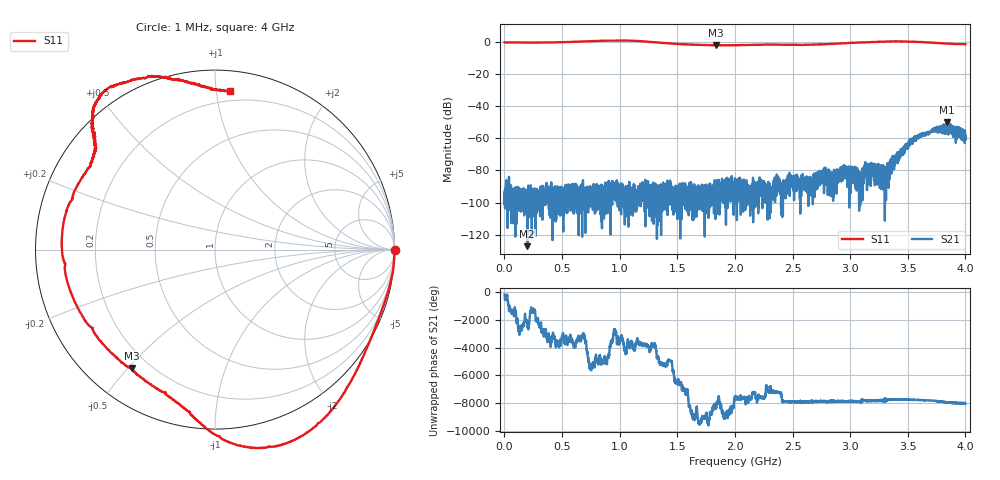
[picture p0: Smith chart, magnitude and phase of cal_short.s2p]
!Created with skrf (http://scikit-rf.org).
# GHz S RI R 50.0
!freq ReS11 ImS11 ReS21 ImS21 ReS12 ImS12 ReS22 ImS22
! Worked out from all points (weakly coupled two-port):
!   4000 points, 1 MHz to 4 GHz, reference 50 ohm
!   highest |S21| = -49.95 dB at 3.843 GHz (marker M1); lowest = -127.3 dB at 198 MHz (marker M2)
!   lowest |S11| = -1.9 dB at 1.833 GHz (marker M3), VSWR 9.30, Z = 6.81 - j25.6 ohm
!   |S11| at or under -10 dB: nowhere
!   S12 and S22 are empty: the file has one direction only
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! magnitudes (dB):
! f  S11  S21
! 1 MHz  0.0  -94.2
! 198 MHz  -0.1  -127.3
! 668 MHz  0.5  -105.4
! 1.023 GHz  1.2  -88.3
! 1.334 GHz  -0.1  -92.4
! 1.833 GHz  -1.9  -99.1
! 2.001 GHz  -1.8  -88.6
! 2.667 GHz  -1.4  -92.3
! 2.949 GHz  -0.6  -78.3
! 3.083 GHz  -0.1  -92.4
! 3.147 GHz  0.1  -79.3
! 3.161 GHz  0.1  -85.4
! 3.3 GHz  0.5  -78.6
! 3.334 GHz  0.6  -90.9
! 3.544 GHz  0.4  -61.2
! 3.72 GHz  -0.2  -55.8
! 3.843 GHz  -0.8  -49.9
! 3.873 GHz  -0.9  -53.0
! 3.91 GHz  -1.0  -54.1
! 3.947 GHz  -1.0  -57.4
! 3.979 GHz  -1.0  -55.1
! 4 GHz  -1.1  -60.8
